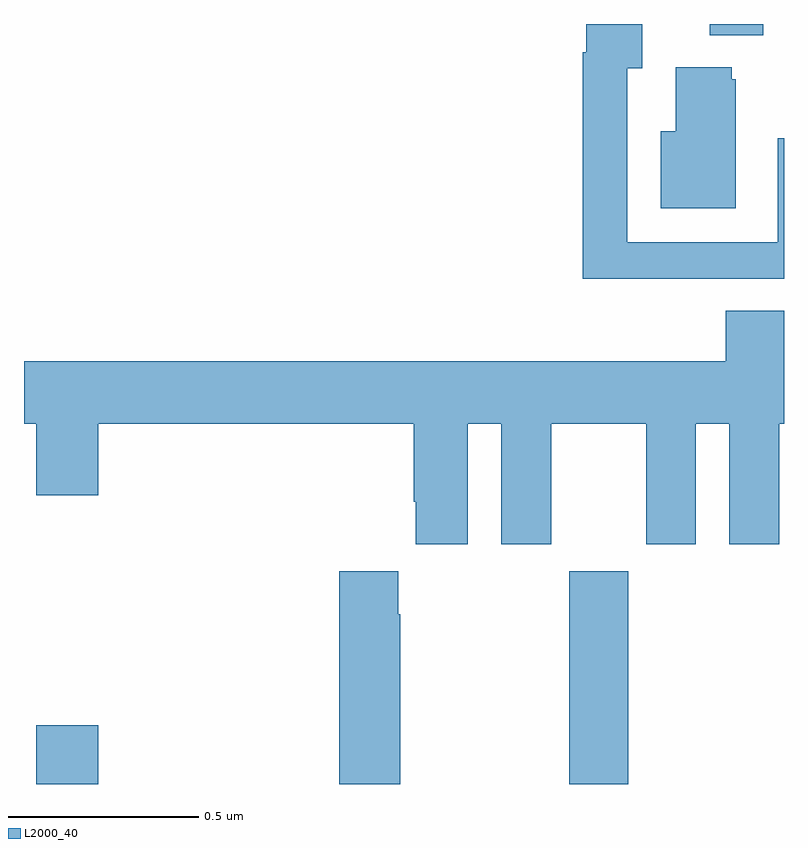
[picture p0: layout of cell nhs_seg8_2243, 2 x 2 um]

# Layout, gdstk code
import gdstk
lib = gdstk.Library(unit=1e-6, precision=1e-09)
def R(c, l, rs):  # rectangles x0, y0, x1, y1
    for r in rs: c.add(gdstk.rectangle(r[:2], r[2:], *l))
def P(c, l, *ps):  # polygons
    for p in ps: c.add(gdstk.Polygon(p, *l))
L2000_40 = (2000, 40)

nhs_seg8_2243 = lib.new_cell('nhs_seg8_2243')
R(nhs_seg8_2243, L2000_40, [(141.032,1100.9,141.196,1101.055), (142.435,1100.9,142.59,1101.46), (142.805,1102.871,142.945,1102.9)])
P(nhs_seg8_2243, L2000_40, [(142.763,1102.23),(143,1102.23),(143,1102.6),(142.983,1102.6),(142.983,1102.326),(142.587,1102.326),(142.587,1102.783),(142.627,1102.783),(142.627,1102.9),(142.479,1102.9),(142.479,1102.826),(142.471,1102.826),(142.471,1102.229),(142.763,1102.229)],
  [(142.873,1102.755),(142.862,1102.755),(142.862,1102.786),(142.715,1102.786),(142.715,1102.618),(142.676,1102.618),(142.676,1102.415),(142.873,1102.415)],
  [(142.168,1101.848),(142.256,1101.848),(142.256,1101.531),(142.387,1101.531),(142.387,1101.848),(142.637,1101.848),(142.637,1101.531),(142.768,1101.531),(142.768,1101.848),(142.856,1101.848),(142.856,1101.531),(142.987,1101.531),(142.987,1101.848),(143,1101.848),(143,1102.145),(142.847,1102.145),(142.847,1102.012),(141,1102.012),(141,1101.848),(141.032,1101.848),(141.032,1101.66),(141.196,1101.66),(141.196,1101.848),(142.025,1101.848),(142.025,1101.643),(142.031,1101.643),(142.031,1101.531),(142.168,1101.531)],
  [(141.99,1101.347),(141.985,1101.347),(141.985,1101.46),(141.83,1101.46),(141.83,1100.9),(141.99,1100.9)])

lib.write_gds('nhs_seg8_2243.gds')
